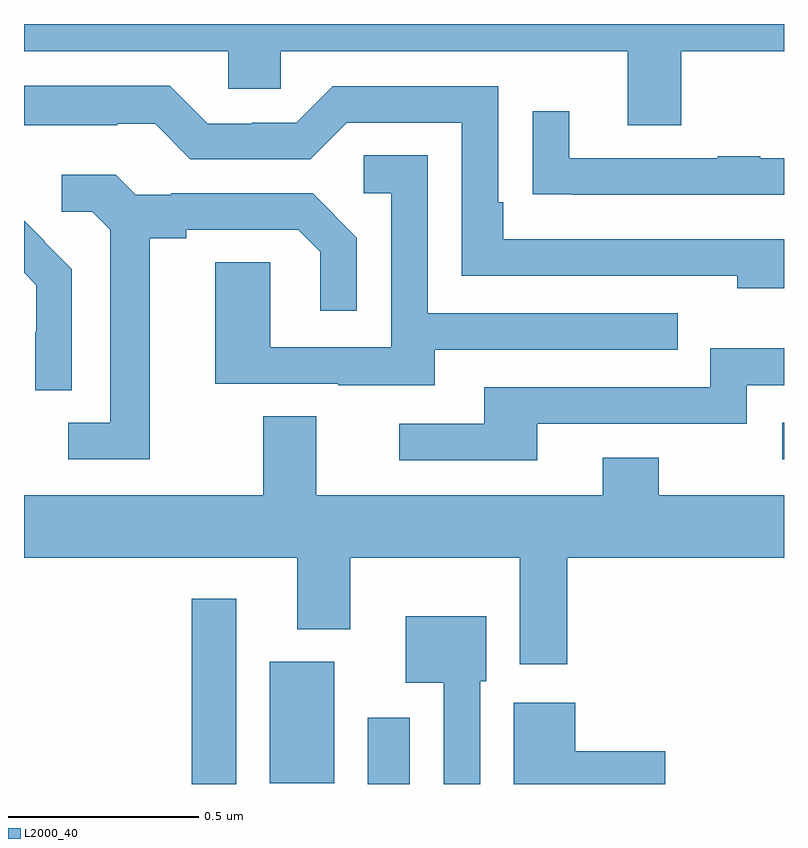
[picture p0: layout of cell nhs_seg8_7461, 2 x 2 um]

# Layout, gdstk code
import gdstk
lib = gdstk.Library(unit=1e-6, precision=1e-09)
def R(c, l, rs):  # rectangles x0, y0, x1, y1
    for r in rs: c.add(gdstk.rectangle(r[:2], r[2:], *l))
def P(c, l, *ps):  # polygons
    for p in ps: c.add(gdstk.Polygon(p, *l))
L2000_40 = (2000, 40)

nhs_seg8_7461 = lib.new_cell('nhs_seg8_7461')
R(nhs_seg8_7461, L2000_40, [(210.442,1119.9,210.558,1120.387), (210.905,1119.9,211.015,1120.075), (210.647,1119.902,210.817,1120.222), (211.995,1120.755,212,1120.851)])
P(nhs_seg8_7461, L2000_40, [(211.729,1121.828),(212,1121.828),(212,1121.9),(210,1121.9),(210,1121.828),(210.537,1121.828),(210.537,1121.73),(210.675,1121.73),(210.675,1121.828),(211.589,1121.828),(211.589,1121.634),(211.729,1121.634)],
  [(212,1121.334),(211.261,1121.334),(211.261,1121.431),(211.248,1121.431),(211.248,1121.736),(210.813,1121.736),(210.717,1121.64),(210.599,1121.64),(210.599,1121.637),(210.483,1121.637),(210.383,1121.737),(210,1121.737),(210,1121.633),(210.245,1121.633),(210.245,1121.637),(210.345,1121.637),(210.438,1121.544),(210.753,1121.544),(210.849,1121.64),(211.152,1121.64),(211.152,1121.238),(211.877,1121.238),(211.877,1121.204),(212,1121.204)],
  [(212,1121.547),(211.937,1121.547),(211.937,1121.552),(211.825,1121.552),(211.825,1121.547),(211.435,1121.547),(211.435,1121.671),(211.339,1121.671),(211.339,1121.452),(211.441,1121.452),(211.441,1121.451),(212,1121.451)],
  [(211.081,1121.043),(211.721,1121.043),(211.721,1121.139),(211.062,1121.139),(211.062,1121.555),(210.894,1121.555),(210.894,1121.454),(210.966,1121.454),(210.966,1121.049),(210.648,1121.049),(210.648,1121.273),(210.503,1121.273),(210.503,1120.953),(210.827,1120.953),(210.827,1120.949),(211.081,1120.949)],
  [(210.331,1121.336),(210.427,1121.336),(210.427,1121.358),(210.722,1121.358),(210.779,1121.301),(210.779,1121.145),(210.876,1121.145),(210.876,1121.338),(210.76,1121.454),(210.388,1121.454),(210.388,1121.451),(210.294,1121.451),(210.242,1121.503),(210.099,1121.503),(210.099,1121.406),(210.18,1121.406),(210.227,1121.359),(210.227,1120.851),(210.117,1120.851),(210.117,1120.755),(210.331,1120.755)],
  [(210.126,1121.254),(210.053,1121.327),(210.054,1121.328),(210,1121.382),(210,1121.245),(210.032,1121.213),(210.032,1121.09),(210.03,1121.09),(210.03,1120.936),(210.126,1120.936)],
  [(211.351,1120.848),(211.902,1120.848),(211.902,1120.95),(212,1120.95),(212,1121.047),(211.806,1121.047),(211.806,1120.944),(211.211,1120.944),(211.211,1120.848),(210.987,1120.848),(210.987,1120.752),(211.351,1120.752)],
  [(211.43,1120.496),(212,1120.496),(212,1120.66),(211.671,1120.66),(211.671,1120.759),(211.523,1120.759),(211.523,1120.66),(210.769,1120.66),(210.769,1120.868),(210.629,1120.868),(210.629,1120.66),(210,1120.66),(210,1120.496),(210.719,1120.496),(210.719,1120.307),(210.859,1120.307),(210.859,1120.496),(211.304,1120.496),(211.304,1120.215),(211.43,1120.215)],
  [(211.2,1120.17),(211.216,1120.17),(211.216,1120.342),(211.004,1120.342),(211.004,1120.166),(211.104,1120.166),(211.104,1119.9),(211.2,1119.9)],
  [(211.687,1119.986),(211.451,1119.986),(211.451,1120.114),(211.289,1120.114),(211.289,1119.9),(211.687,1119.9)])

lib.write_gds('nhs_seg8_7461.gds')
